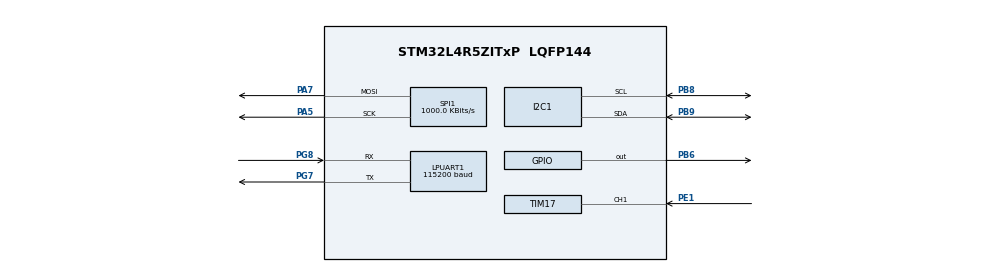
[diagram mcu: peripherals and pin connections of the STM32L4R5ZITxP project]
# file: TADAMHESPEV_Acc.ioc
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LPUART1.BaudRate=115200
LPUART1.WordLength=UART_WORDLENGTH_8B
Mcu.Family=STM32L4
Mcu.Name=STM32L4R5ZITxP
Mcu.Package=LQFP144
NVIC.PriorityGroup=NVIC_PRIORITYGROUP_4
NVIC.TIM1_TRG_COM_TIM17_IRQn=true\:0\:0\:false\:false\:true\:true\:true\:true
PA0.Signal=S_TIM2_CH1
PA1.Signal=ADCx_IN6
PA10.Signal=USB_OTG_FS_ID
PA13\ (JTMS/SWDIO).Signal=SYS_JTMS-SWDIO
PA14\ (JTCK/SWCLK).Signal=SYS_JTCK-SWCLK
PA3.Signal=ADCx_IN8
PA4.Signal=SPI1_NSS
PA5.Mode=TX_Only_Simplex_Unidirect_Master
PA5.Signal=SPI1_SCK
PA6.Signal=SPI1_MISO
PA7.Mode=TX_Only_Simplex_Unidirect_Master
PA7.Signal=SPI1_MOSI
PA8.Signal=USB_OTG_FS_SOF
PA9.Signal=USB_OTG_FS_VBUS
PB0.Signal=S_TIM3_CH3
PB1.Signal=ADCx_IN16
PB10.Signal=S_TIM2_CH3
PB12.Signal=SAI2_FS_A
PB13.Signal=SAI2_SCK_A
PB14.Signal=S_TIM15_CH1
PB15.Signal=SAI2_SD_A
PB2.Signal=COMP1_INP
PB6.GPIO_PuPd=GPIO_PULLDOWN
PB6.Signal=GPIO_Output
PB8.Mode=I2C
PB8.Signal=I2C1_SCL
PB9.Mode=I2C
PB9.Signal=I2C1_SDA
PC0.Signal=ADCx_IN1
PC1.Signal=ADCx_IN2
PC10.Signal=SDMMC1_D2
PC11.Signal=SDMMC1_D3
PC12.Signal=SDMMC1_CK
PC13.Signal=SYS_WKUP2
PC14-OSC32_IN\ (PC14).Signal=RCC_OSC32_IN
PC15-OSC32_OUT\ (PC15).Signal=RCC_OSC32_OUT
PC2.Signal=ADCx_IN3
PC3.Signal=ADCx_IN4
PC4.Signal=ADCx_IN13
PC5.Signal=ADCx_IN14
PC6.Signal=SAI2_MCLK_A
PC7.Signal=S_TIM3_CH2
PC8.Signal=SDMMC1_D0
PC9.Signal=SDMMC1_D1
PD0.Signal=CAN1_RX
PD14.Signal=S_TIM4_CH3
PD15.Signal=S_TIM4_CH4
PD2.Signal=SDMMC1_CMD
PD3.Signal=USART2_CTS
PD4.Signal=USART2_RTS
PD5.Signal=USART2_TX
PD6.Signal=USART2_RX
PD8.Signal=USART3_TX
PD9.Signal=USART3_RX
PE0.Signal=S_TIM4_ETR
PE1.GPIO_PuPd=GPIO_PULLDOWN
PE1.Signal=S_TIM17_CH1
PE10.Signal=TIM1_CH2N
PE11.Signal=S_TIM1_CH2
PE12.Signal=TIM1_CH3N
PE13.Signal=S_TIM1_CH3
PE14.Signal=TIM1_BKIN2
PE15.Signal=TIM1_BKIN
PE2.Signal=SAI1_MCLK_A
PE3.Signal=SAI1_SD_B
PE7.Signal=S_TIM1_ETR
PE8.Signal=TIM1_CH1N
PE9.Signal=S_TIM1_CH1
PF0.Signal=I2C2_SDA
PF1.Signal=I2C2_SCL
PF2.Signal=I2C2_SMBA
PF7.Signal=SAI1_MCLK_B
PG7.Mode=Asynchronous
PG7.Signal=LPUART1_TX
PG8.Mode=Asynchronous
PG8.Signal=LPUART1_RX
PH0-OSC_IN\ (PH0).Signal=RCC_OSC_IN
PH1-OSC_OUT\ (PH1).Signal=RCC_OSC_OUT
ProjectManager.HeapSize=0x200
ProjectManager.StackSize=0x400
ProjectManager.TargetToolchain=STM32CubeIDE
RCC.HSE_VALUE=8000000
RCC.HSI48_VALUE=48000000
RCC.HSI_VALUE=16000000
RCC.LSE_VALUE=32768
RCC.MSI_VALUE=4000000
RCC.VCOOutputFreq_Value=32000000
SH.ADCx_IN1.0=ADC1_IN1
SH.ADCx_IN13.0=ADC1_IN13
SH.ADCx_IN14.0=ADC1_IN14
SH.ADCx_IN16.0=ADC1_IN16
SH.ADCx_IN2.0=ADC1_IN2
SH.ADCx_IN3.0=ADC1_IN3
SH.ADCx_IN4.0=ADC1_IN4
SH.ADCx_IN6.0=ADC1_IN6
SH.ADCx_IN8.0=ADC1_IN8
SH.S_TIM15_CH1.0=TIM15_CH1
SH.S_TIM17_CH1.0=TIM17_CH1,Input_Capture1_from_TI1
SH.S_TIM1_CH1.0=TIM1_CH1
SH.S_TIM1_CH2.0=TIM1_CH2
SH.S_TIM1_CH3.0=TIM1_CH3
SH.S_TIM1_ETR.0=TIM1_ETR
SH.S_TIM2_CH1.0=TIM2_CH1
SH.S_TIM2_CH3.0=TIM2_CH3
SH.S_TIM3_CH2.0=TIM3_CH2
SH.S_TIM3_CH3.0=TIM3_CH3
SH.S_TIM4_CH3.0=TIM4_CH3
SH.S_TIM4_CH4.0=TIM4_CH4
SH.S_TIM4_ETR.0=TIM4_ETR
SPI1.BaudRatePrescaler=SPI_BAUDRATEPRESCALER_4
SPI1.CalculateBaudRate=1000.0 KBits/s
SPI1.DataSize=SPI_DATASIZE_8BIT
SPI1.Direction=SPI_DIRECTION_2LINES
SPI1.Mode=SPI_MODE_MASTER
SPI1.VirtualType=VM_MASTER
TIM17.Channel=TIM_CHANNEL_1
TIM17.ICFilter_CH1=15
TIM17.ICPolarity_CH1=TIM_INPUTCHANNELPOLARITY_FALLING
TIM17.Prescaler=3999
VP_TIM17_VS_ClockSourceINT.Mode=Enable_Timer
board=NUCLEO-L4R5ZI-P

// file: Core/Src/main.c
/* USER CODE BEGIN Header */
/**
  ******************************************************************************
  * @file           : main.c
  * @brief          : Main program body
  ******************************************************************************
  * @attention
  *
  * Copyright (c) 2023 STMicroelectronics.
  * All rights reserved.
  *
  * This software is licensed under terms that can be found in the LICENSE file
  * in the root directory of this software component.
  * If no LICENSE file comes with this software, it is provided AS-IS.
  *
  ******************************************************************************
  */
/* USER CODE END Header */
#include "main.h"

/* USER CODE BEGIN Includes */
#include "stdio.h"
#include "math.h"
#include "stdlib.h"
//#include "stdint.h"
//#include "string.h"
#include "acc.h"
#include "led.h"
#include "TADAMHESPEVDataTemplate.h"

/* USER CODE END Includes */

I2C_HandleTypeDef hi2c1;

UART_HandleTypeDef hlpuart1;

SPI_HandleTypeDef hspi1;

TIM_HandleTypeDef htim17;

/* USER CODE BEGIN PV */
//extern float acc;

/* USER CODE END PV */

void SystemClock_Config(void);
static void MX_GPIO_Init(void);
static void MX_I2C1_Init(void);
static void MX_LPUART1_UART_Init(void);
static void MX_SPI1_Init(void);
static void MX_TIM17_Init(void);

/* USER CODE BEGIN 0 */
volatile struct TelData teldata;

/* USER CODE END 0 */

int main(void)
{

  /* MCU Configuration--------------------------------------------------------*/

  /* Reset of all peripherals, Initializes the Flash interface and the Systick. */
  HAL_Init();

  /* Configure the system clock */
  SystemClock_Config();

  /* Initialize all configured peripherals */
  MX_GPIO_Init();
  MX_I2C1_Init();
  MX_LPUART1_UART_Init();
  MX_SPI1_Init();
  MX_TIM17_Init();
  /* USER CODE BEGIN 2 */

//  if (HAL_TIM_Base_Start_IT(&htim15) != HAL_OK)
//   {
//     /* Starting Error */
//     Error_Handler();
//   }

  if (HAL_TIM_IC_Start_IT(&htim17,TIM_CHANNEL_1) != HAL_OK)
     {
       /* Starting Error */
       Error_Handler();
     }
  /* USER CODE END 2 */

  /* Infinite loop */
  /* USER CODE BEGIN WHILE */

//  static int cnt = 0;
//  setupAccModule();
//  setupLEDS();

//  uint8_t binAccRead = accFloat2Binary(acc);
//  uint8_t dispBinAcc = binAccRead;
//  int diffTol = 5;

  while (1)
  {

	  printf("%f\n",teldata.speed);

//	  int val = __HALs_TIM_GET_COUNTER(&htim17);
//	  int temp = val;
//	 float temp = ReadAccData();
//	 printLEDs(temp);

//	  ledTest(); //lights up the second LED
//	  clearLEDstrip();
//	 binAccRead = accFloat2Binary(acc);

	 //ignore values that are different by more than a tollerance
//	 if(abs(binAccRead - dispBinAcc) < diffTol){
//		 //change the dispBinAcc
//		 if(binAccRead > dispBinAcc){
//			 dispBinAcc++;
//		 }
//		 if(binAccRead < dispBinAcc){
//			 dispBinAcc--;
//		 }
//	 }
//	 printBinaryNewline(binAccRead);
//	 write4BitGPIOs(binAccRead);
//	 HAL_Delay(10);

//	writeGPIOCountTest();
    /* USER CODE END WHILE */

  }
}

void SystemClock_Config(void)
{
  RCC_OscInitTypeDef RCC_OscInitStruct = {0};
  RCC_ClkInitTypeDef RCC_ClkInitStruct = {0};

  /** Configure the main internal regulator output voltage
  */
  if (HAL_PWREx_ControlVoltageScaling(PWR_REGULATOR_VOLTAGE_SCALE1) != HAL_OK)
  {
    Error_Handler();
  }

  /** Initializes the RCC Oscillators according to the specified parameters
  * in the RCC_OscInitTypeDef structure.
  */
  RCC_OscInitStruct.OscillatorType = RCC_OSCILLATORTYPE_MSI;
  RCC_OscInitStruct.MSIState = RCC_MSI_ON;
  RCC_OscInitStruct.MSICalibrationValue = 0;
  RCC_OscInitStruct.MSIClockRange = RCC_MSIRANGE_6;
  RCC_OscInitStruct.PLL.PLLState = RCC_PLL_NONE;
  if (HAL_RCC_OscConfig(&RCC_OscInitStruct) != HAL_OK)
  {
    Error_Handler();
  }

  /** Initializes the CPU, AHB and APB buses clocks
  */
  RCC_ClkInitStruct.ClockType = RCC_CLOCKTYPE_HCLK|RCC_CLOCKTYPE_SYSCLK
                              |RCC_CLOCKTYPE_PCLK1|RCC_CLOCKTYPE_PCLK2;
  RCC_ClkInitStruct.SYSCLKSource = RCC_SYSCLKSOURCE_MSI;
  RCC_ClkInitStruct.AHBCLKDivider = RCC_SYSCLK_DIV1;
  RCC_ClkInitStruct.APB1CLKDivider = RCC_HCLK_DIV1;
  RCC_ClkInitStruct.APB2CLKDivider = RCC_HCLK_DIV1;

  if (HAL_RCC_ClockConfig(&RCC_ClkInitStruct, FLASH_LATENCY_0) != HAL_OK)
  {
    Error_Handler();
  }
}

static void MX_I2C1_Init(void)
{

  hi2c1.Instance = I2C1;
  hi2c1.Init.Timing = 0x00000E14;
  hi2c1.Init.OwnAddress1 = 0;
  hi2c1.Init.AddressingMode = I2C_ADDRESSINGMODE_7BIT;
  hi2c1.Init.DualAddressMode = I2C_DUALADDRESS_DISABLE;
  hi2c1.Init.OwnAddress2 = 0;
  hi2c1.Init.OwnAddress2Masks = I2C_OA2_NOMASK;
  hi2c1.Init.GeneralCallMode = I2C_GENERALCALL_DISABLE;
  hi2c1.Init.NoStretchMode = I2C_NOSTRETCH_DISABLE;
  if (HAL_I2C_Init(&hi2c1) != HAL_OK)
  {
    Error_Handler();
  }

  /** Configure Analogue filter
  */
  if (HAL_I2CEx_ConfigAnalogFilter(&hi2c1, I2C_ANALOGFILTER_ENABLE) != HAL_OK)
  {
    Error_Handler();
  }

  /** Configure Digital filter
  */
  if (HAL_I2CEx_ConfigDigitalFilter(&hi2c1, 0) != HAL_OK)
  {
    Error_Handler();
  }

}

static void MX_LPUART1_UART_Init(void)
{

  hlpuart1.Instance = LPUART1;
  hlpuart1.Init.BaudRate = 115200;
  hlpuart1.Init.WordLength = UART_WORDLENGTH_8B;
  hlpuart1.Init.StopBits = UART_STOPBITS_1;
  hlpuart1.Init.Parity = UART_PARITY_NONE;
  hlpuart1.Init.Mode = UART_MODE_TX_RX;
  hlpuart1.Init.HwFlowCtl = UART_HWCONTROL_NONE;
  hlpuart1.Init.OneBitSampling = UART_ONE_BIT_SAMPLE_DISABLE;
  hlpuart1.Init.ClockPrescaler = UART_PRESCALER_DIV1;
  hlpuart1.AdvancedInit.AdvFeatureInit = UART_ADVFEATURE_NO_INIT;
  hlpuart1.FifoMode = UART_FIFOMODE_DISABLE;
  if (HAL_UART_Init(&hlpuart1) != HAL_OK)
  {
    Error_Handler();
  }
  if (HAL_UARTEx_SetTxFifoThreshold(&hlpuart1, UART_TXFIFO_THRESHOLD_1_8) != HAL_OK)
  {
    Error_Handler();
  }
  if (HAL_UARTEx_SetRxFifoThreshold(&hlpuart1, UART_RXFIFO_THRESHOLD_1_8) != HAL_OK)
  {
    Error_Handler();
  }
  if (HAL_UARTEx_DisableFifoMode(&hlpuart1) != HAL_OK)
  {
    Error_Handler();
  }

}

static void MX_SPI1_Init(void)
{

  /* SPI1 parameter configuration*/
  hspi1.Instance = SPI1;
  hspi1.Init.Mode = SPI_MODE_MASTER;
  hspi1.Init.Direction = SPI_DIRECTION_2LINES;
  hspi1.Init.DataSize = SPI_DATASIZE_8BIT;
  hspi1.Init.CLKPolarity = SPI_POLARITY_LOW;
  hspi1.Init.CLKPhase = SPI_PHASE_1EDGE;
  hspi1.Init.NSS = SPI_NSS_SOFT;
  hspi1.Init.BaudRatePrescaler = SPI_BAUDRATEPRESCALER_4;
  hspi1.Init.FirstBit = SPI_FIRSTBIT_MSB;
  hspi1.Init.TIMode = SPI_TIMODE_DISABLE;
  hspi1.Init.CRCCalculation = SPI_CRCCALCULATION_DISABLE;
  hspi1.Init.CRCPolynomial = 7;
  hspi1.Init.CRCLength = SPI_CRC_LENGTH_DATASIZE;
  hspi1.Init.NSSPMode = SPI_NSS_PULSE_ENABLE;
  if (HAL_SPI_Init(&hspi1) != HAL_OK)
  {
    Error_Handler();
  }

}

static void MX_TIM17_Init(void)
{

  TIM_IC_InitTypeDef sConfigIC = {0};

  htim17.Instance = TIM17;
  htim17.Init.Prescaler = 3999;
  htim17.Init.CounterMode = TIM_COUNTERMODE_UP;
  htim17.Init.Period = 65535;
  htim17.Init.ClockDivision = TIM_CLOCKDIVISION_DIV1;
  htim17.Init.RepetitionCounter = 0;
  htim17.Init.AutoReloadPreload = TIM_AUTORELOAD_PRELOAD_DISABLE;
  if (HAL_TIM_Base_Init(&htim17) != HAL_OK)
  {
    Error_Handler();
  }
  if (HAL_TIM_IC_Init(&htim17) != HAL_OK)
  {
    Error_Handler();
  }
  sConfigIC.ICPolarity = TIM_INPUTCHANNELPOLARITY_FALLING;
  sConfigIC.ICSelection = TIM_ICSELECTION_DIRECTTI;
  sConfigIC.ICPrescaler = TIM_ICPSC_DIV1;
  sConfigIC.ICFilter = 15;
  if (HAL_TIM_IC_ConfigChannel(&htim17, &sConfigIC, TIM_CHANNEL_1) != HAL_OK)
  {
    Error_Handler();
  }

}

static void MX_GPIO_Init(void)
{
  GPIO_InitTypeDef GPIO_InitStruct = {0};

  /* GPIO Ports Clock Enable */
  __HAL_RCC_GPIOE_CLK_ENABLE();
  __HAL_RCC_GPIOC_CLK_ENABLE();
  __HAL_RCC_GPIOF_CLK_ENABLE();
  __HAL_RCC_GPIOH_CLK_ENABLE();
  __HAL_RCC_GPIOA_CLK_ENABLE();
  __HAL_RCC_GPIOB_CLK_ENABLE();
  __HAL_RCC_GPIOD_CLK_ENABLE();
  __HAL_RCC_GPIOG_CLK_ENABLE();
  HAL_PWREx_EnableVddIO2();

  /*Configure GPIO pin Output Level */
  HAL_GPIO_WritePin(GPIOB, GPIO_PIN_6, GPIO_PIN_RESET);

  /*Configure GPIO pins : PE2 PE3 */
  GPIO_InitStruct.Pin = GPIO_PIN_2|GPIO_PIN_3;
  GPIO_InitStruct.Mode = GPIO_MODE_AF_PP;
  GPIO_InitStruct.Pull = GPIO_NOPULL;
  GPIO_InitStruct.Speed = GPIO_SPEED_FREQ_LOW;
  GPIO_InitStruct.Alternate = GPIO_AF13_SAI1;
  HAL_GPIO_Init(GPIOE, &GPIO_InitStruct);

  /*Configure GPIO pins : PF0 PF1 PF2 */
  GPIO_InitStruct.Pin = GPIO_PIN_0|GPIO_PIN_1|GPIO_PIN_2;
  GPIO_InitStruct.Mode = GPIO_MODE_AF_OD;
  GPIO_InitStruct.Pull = GPIO_NOPULL;
  GPIO_InitStruct.Speed = GPIO_SPEED_FREQ_VERY_HIGH;
  GPIO_InitStruct.Alternate = GPIO_AF4_I2C2;
  HAL_GPIO_Init(GPIOF, &GPIO_InitStruct);

  /*Configure GPIO pin : PF7 */
  GPIO_InitStruct.Pin = GPIO_PIN_7;
  GPIO_InitStruct.Mode = GPIO_MODE_AF_PP;
  GPIO_InitStruct.Pull = GPIO_NOPULL;
  GPIO_InitStruct.Speed = GPIO_SPEED_FREQ_LOW;
  GPIO_InitStruct.Alternate = GPIO_AF13_SAI1;
  HAL_GPIO_Init(GPIOF, &GPIO_InitStruct);

  /*Configure GPIO pins : PC0 PC1 PC2 PC3
                           PC4 PC5 */
  GPIO_InitStruct.Pin = GPIO_PIN_0|GPIO_PIN_1|GPIO_PIN_2|GPIO_PIN_3
                          |GPIO_PIN_4|GPIO_PIN_5;
  GPIO_InitStruct.Mode = GPIO_MODE_ANALOG_ADC_CONTROL;
  GPIO_InitStruct.Pull = GPIO_NOPULL;
  HAL_GPIO_Init(GPIOC, &GPIO_InitStruct);

  /*Configure GPIO pin : PA0 */
  GPIO_InitStruct.Pin = GPIO_PIN_0;
  GPIO_InitStruct.Mode = GPIO_MODE_AF_PP;
  GPIO_InitStruct.Pull = GPIO_NOPULL;
  GPIO_InitStruct.Speed = GPIO_SPEED_FREQ_LOW;
  GPIO_InitStruct.Alternate = GPIO_AF1_TIM2;
  HAL_GPIO_Init(GPIOA, &GPIO_InitStruct);

  /*Configure GPIO pins : PA1 PA3 */
  GPIO_InitStruct.Pin = GPIO_PIN_1|GPIO_PIN_3;
  GPIO_InitStruct.Mode = GPIO_MODE_ANALOG_ADC_CONTROL;
  GPIO_InitStruct.Pull = GPIO_NOPULL;
  HAL_GPIO_Init(GPIOA, &GPIO_InitStruct);

  /*Configure GPIO pin : PB0 */
  GPIO_InitStruct.Pin = GPIO_PIN_0;
  GPIO_InitStruct.Mode = GPIO_MODE_AF_PP;
  GPIO_InitStruct.Pull = GPIO_NOPULL;
  GPIO_InitStruct.Speed = GPIO_SPEED_FREQ_LOW;
  GPIO_InitStruct.Alternate = GPIO_AF2_TIM3;
  HAL_GPIO_Init(GPIOB, &GPIO_InitStruct);

  /*Configure GPIO pin : PB1 */
  GPIO_InitStruct.Pin = GPIO_PIN_1;
  GPIO_InitStruct.Mode = GPIO_MODE_ANALOG_ADC_CONTROL;
  GPIO_InitStruct.Pull = GPIO_NOPULL;
  HAL_GPIO_Init(GPIOB, &GPIO_InitStruct);

  /*Configure GPIO pin : PB2 */
  GPIO_InitStruct.Pin = GPIO_PIN_2;
  GPIO_InitStruct.Mode = GPIO_MODE_ANALOG;
  GPIO_InitStruct.Pull = GPIO_NOPULL;
  HAL_GPIO_Init(GPIOB, &GPIO_InitStruct);

  /*Configure GPIO pins : PE7 PE8 PE9 PE10
                           PE11 PE12 PE13 */
  GPIO_InitStruct.Pin = GPIO_PIN_7|GPIO_PIN_8|GPIO_PIN_9|GPIO_PIN_10
                          |GPIO_PIN_11|GPIO_PIN_12|GPIO_PIN_13;
  GPIO_InitStruct.Mode = GPIO_MODE_AF_PP;
  GPIO_InitStruct.Pull = GPIO_NOPULL;
  GPIO_InitStruct.Speed = GPIO_SPEED_FREQ_LOW;
  GPIO_InitStruct.Alternate = GPIO_AF1_TIM1;
  HAL_GPIO_Init(GPIOE, &GPIO_InitStruct);

  /*Configure GPIO pins : PE14 PE15 */
  GPIO_InitStruct.Pin = GPIO_PIN_14|GPIO_PIN_15;
  GPIO_InitStruct.Mode = GPIO_MODE_AF_PP;
  GPIO_InitStruct.Pull = GPIO_NOPULL;
  GPIO_InitStruct.Speed = GPIO_SPEED_FREQ_LOW;
  GPIO_InitStruct.Alternate = GPIO_AF3_TIM1_COMP1;
  HAL_GPIO_Init(GPIOE, &GPIO_InitStruct);

  /*Configure GPIO pin : PB10 */
  GPIO_InitStruct.Pin = GPIO_PIN_10;
  GPIO_InitStruct.Mode = GPIO_MODE_AF_PP;
  GPIO_InitStruct.Pull = GPIO_NOPULL;
  GPIO_InitStruct.Speed = GPIO_SPEED_FREQ_LOW;
  GPIO_InitStruct.Alternate = GPIO_AF1_TIM2;
  HAL_GPIO_Init(GPIOB, &GPIO_InitStruct);

  /*Configure GPIO pins : PB12 PB13 PB15 */
  GPIO_InitStruct.Pin = GPIO_PIN_12|GPIO_PIN_13|GPIO_PIN_15;
  GPIO_InitStruct.Mode = GPIO_MODE_AF_PP;
  GPIO_InitStruct.Pull = GPIO_NOPULL;
  GPIO_InitStruct.Speed = GPIO_SPEED_FREQ_LOW;
  GPIO_InitStruct.Alternate = GPIO_AF13_SAI2;
  HAL_GPIO_Init(GPIOB, &GPIO_InitStruct);

  /*Configure GPIO pin : PB14 */
  GPIO_InitStruct.Pin = GPIO_PIN_14;
  GPIO_InitStruct.Mode = GPIO_MODE_AF_PP;
  GPIO_InitStruct.Pull = GPIO_NOPULL;
  GPIO_InitStruct.Speed = GPIO_SPEED_FREQ_LOW;
  GPIO_InitStruct.Alternate = GPIO_AF14_TIM15;
  HAL_GPIO_Init(GPIOB, &GPIO_InitStruct);

  /*Configure GPIO pins : PD8 PD9 */
  GPIO_InitStruct.Pin = GPIO_PIN_8|GPIO_PIN_9;
  GPIO_InitStruct.Mode = GPIO_MODE_AF_PP;
  GPIO_InitStruct.Pull = GPIO_NOPULL;
  GPIO_InitStruct.Speed = GPIO_SPEED_FREQ_VERY_HIGH;
  GPIO_InitStruct.Alternate = GPIO_AF7_USART3;
  HAL_GPIO_Init(GPIOD, &GPIO_InitStruct);

  /*Configure GPIO pins : PD14 PD15 */
  GPIO_InitStruct.Pin = GPIO_PIN_14|GPIO_PIN_15;
  GPIO_InitStruct.Mode = GPIO_MODE_AF_PP;
  GPIO_InitStruct.Pull = GPIO_NOPULL;
  GPIO_InitStruct.Speed = GPIO_SPEED_FREQ_LOW;
  GPIO_InitStruct.Alternate = GPIO_AF2_TIM4;
  HAL_GPIO_Init(GPIOD, &GPIO_InitStruct);

  /*Configure GPIO pin : PC6 */
  GPIO_InitStruct.Pin = GPIO_PIN_6;
  GPIO_InitStruct.Mode = GPIO_MODE_AF_PP;
  GPIO_InitStruct.Pull = GPIO_NOPULL;
  GPIO_InitStruct.Speed = GPIO_SPEED_FREQ_LOW;
  GPIO_InitStruct.Alternate = GPIO_AF13_SAI2;
  HAL_GPIO_Init(GPIOC, &GPIO_InitStruct);

  /*Configure GPIO pin : PC7 */
  GPIO_InitStruct.Pin = GPIO_PIN_7;
  GPIO_InitStruct.Mode = GPIO_MODE_AF_PP;
  GPIO_InitStruct.Pull = GPIO_NOPULL;
  GPIO_InitStruct.Speed = GPIO_SPEED_FREQ_LOW;
  GPIO_InitStruct.Alternate = GPIO_AF2_TIM3;
  HAL_GPIO_Init(GPIOC, &GPIO_InitStruct);

  /*Configure GPIO pins : PC8 PC9 PC10 PC11
                           PC12 */
  GPIO_InitStruct.Pin = GPIO_PIN_8|GPIO_PIN_9|GPIO_PIN_10|GPIO_PIN_11
                          |GPIO_PIN_12;
  GPIO_InitStruct.Mode = GPIO_MODE_AF_PP;
  GPIO_InitStruct.Pull = GPIO_NOPULL;
  GPIO_InitStruct.Speed = GPIO_SPEED_FREQ_VERY_HIGH;
  GPIO_InitStruct.Alternate = GPIO_AF12_SDMMC1;
  HAL_GPIO_Init(GPIOC, &GPIO_InitStruct);

  /*Configure GPIO pins : PA8 PA10 */
  GPIO_InitStruct.Pin = GPIO_PIN_8|GPIO_PIN_10;
  GPIO_InitStruct.Mode = GPIO_MODE_AF_PP;
  GPIO_InitStruct.Pull = GPIO_NOPULL;
  GPIO_InitStruct.Speed = GPIO_SPEED_FREQ_VERY_HIGH;
  GPIO_InitStruct.Alternate = GPIO_AF10_OTG_FS;
  HAL_GPIO_Init(GPIOA, &GPIO_InitStruct);

  /*Configure GPIO pin : PA9 */
  GPIO_InitStruct.Pin = GPIO_PIN_9;
  GPIO_InitStruct.Mode = GPIO_MODE_INPUT;
  GPIO_InitStruct.Pull = GPIO_NOPULL;
  HAL_GPIO_Init(GPIOA, &GPIO_InitStruct);

  /*Configure GPIO pin : PD0 */
  GPIO_InitStruct.Pin = GPIO_PIN_0;
  GPIO_InitStruct.Mode = GPIO_MODE_AF_PP;
  GPIO_InitStruct.Pull = GPIO_NOPULL;
  GPIO_InitStruct.Speed = GPIO_SPEED_FREQ_VERY_HIGH;
  GPIO_InitStruct.Alternate = GPIO_AF9_CAN1;
  HAL_GPIO_Init(GPIOD, &GPIO_InitStruct);

  /*Configure GPIO pin : PD2 */
  GPIO_InitStruct.Pin = GPIO_PIN_2;
  GPIO_InitStruct.Mode = GPIO_MODE_AF_PP;
  GPIO_InitStruct.Pull = GPIO_NOPULL;
  GPIO_InitStruct.Speed = GPIO_SPEED_FREQ_VERY_HIGH;
  GPIO_InitStruct.Alternate = GPIO_AF12_SDMMC1;
  HAL_GPIO_Init(GPIOD, &GPIO_InitStruct);

  /*Configure GPIO pins : PD3 PD4 PD5 PD6 */
  GPIO_InitStruct.Pin = GPIO_PIN_3|GPIO_PIN_4|GPIO_PIN_5|GPIO_PIN_6;
  GPIO_InitStruct.Mode = GPIO_MODE_AF_PP;
  GPIO_InitStruct.Pull = GPIO_NOPULL;
  GPIO_InitStruct.Speed = GPIO_SPEED_FREQ_VERY_HIGH;
  GPIO_InitStruct.Alternate = GPIO_AF7_USART2;
  HAL_GPIO_Init(GPIOD, &GPIO_InitStruct);

  /*Configure GPIO pin : PB6 */
  GPIO_InitStruct.Pin = GPIO_PIN_6;
  GPIO_InitStruct.Mode = GPIO_MODE_OUTPUT_PP;
  GPIO_InitStruct.Pull = GPIO_PULLDOWN;
  GPIO_InitStruct.Speed = GPIO_SPEED_FREQ_LOW;
  HAL_GPIO_Init(GPIOB, &GPIO_InitStruct);

  /*Configure GPIO pin : PE0 */
  GPIO_InitStruct.Pin = GPIO_PIN_0;
  GPIO_InitStruct.Mode = GPIO_MODE_AF_PP;
  GPIO_InitStruct.Pull = GPIO_NOPULL;
  GPIO_InitStruct.Speed = GPIO_SPEED_FREQ_LOW;
  GPIO_InitStruct.Alternate = GPIO_AF2_TIM4;
  HAL_GPIO_Init(GPIOE, &GPIO_InitStruct);

}

/* USER CODE BEGIN 4 */
#ifdef __GNUC__
#define PUTCHAR_PROTOTYPE int __io_putchar(int ch)
#else
  #define PUTCHAR_PROTOTYPE int fputc(int ch, FILE *f)
#endif /* __GNUC__ */
PUTCHAR_PROTOTYPE
{
  HAL_UART_Transmit(&hlpuart1, (uint8_t *)&ch, 1, 0xFFFF);
  return ch;
}

/* USER CODE END 4 */

void Error_Handler(void)
{
  __disable_irq();
  while (1)
  {
  }
}
